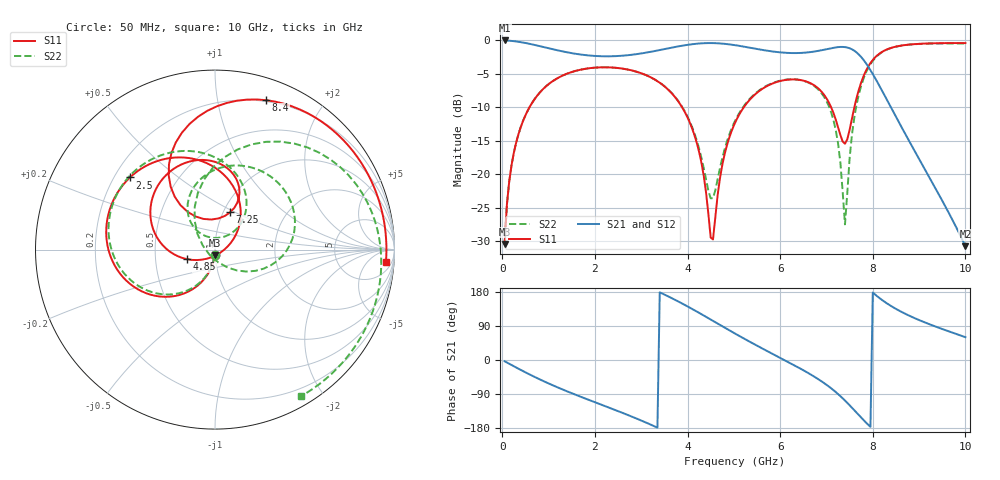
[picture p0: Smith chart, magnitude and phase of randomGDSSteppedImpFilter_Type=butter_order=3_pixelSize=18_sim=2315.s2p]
! freq	dB(S11)	phase(S11)	dB(S12)	phase(S12)
!  dB(S21)	phase(S21)	dB(S22)	phase(S22)
!S-par simulation data
#  GHz  S  DB  R 50
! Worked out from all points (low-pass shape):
!   200 points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, 50 MHz to 10 GHz, reference 50 ohm
!   highest |S21| = -0.01 dB at 50 MHz (marker M1); lowest = -30.8 dB at 10 GHz (marker M2)
!   |S21| within 3 dB of the highest: start of sweep to 7.81 GHz
!   lowest |S11| = -30.5 dB at 50 MHz (marker M3), VSWR 1.06, Z = 49.7 - j2.98 ohm
!   |S11| at or under -10 dB: start of sweep to 588 MHz; 3.882 GHz to 5.216 GHz (1.334 GHz wide, 29.3 % of centre); 7.101 GHz to 7.603 GHz (501.8 MHz wide, 6.83 % of centre)
!   |S22| runs from -30.5 to -0.5 dB; largest |S21 - S12| = 0
!   S11 on the Smith chart (normalised r, x): 50 MHz: 0.99, -0.06; 2.5 GHz: 0.26, +0.34; 4.85 GHz: 0.73, -0.08; 7.25 GHz: 1.08, +0.47; 8.4 GHz: 0.19, +1.38; 10 GHz: 13, -20
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0.05  -30.46 -93.7  -0.01 -3.4  -0.01 -3.4  -30.47 -93.9
0.2  -18.65 -103.5  -0.08 -13.3  -0.08 -13.3  -18.65 -104.2
0.5  -11.20 -122.2  -0.39 -32.6  -0.39 -32.6  -11.21 -124.1
1.05  -6.28 -153.1  -1.26 -64.6  -1.26 -64.6  -6.28 -157.1
1.75  -4.30 173.2  -2.17 -99.7  -2.17 -99.7  -4.30 166.4
2.5  -4.13 139.7  -2.33 -134.9  -2.33 -134.9  -4.14 130.0
3.4  -6.33 95.2  -1.45 178.6  -1.45 178.6  -6.32 83.2
4.15  -14.19 45.6  -0.53 131.3  -0.53 131.3  -13.93 45.0
4.5  -29.50 -33.1  -0.40 106.8  -0.40 106.8  -23.62 79.9
4.85  -15.71 -160.9  -0.55 82.0  -0.55 82.0  -15.13 133.2
5.05  -11.97 -177.5  -0.74 68.1  -0.74 68.1  -11.71 125.8
5.85  -6.41 131.6  -1.67 15.3  -1.67 15.3  -6.34 76.6
6.7  -6.57 84.0  -1.71 -41.2  -1.71 -41.2  -6.66 16.6
7.25  -12.96 67.8  -1.00 -89.8  -1.00 -89.8  -15.39 -43.3
7.4  -15.45 96.7  -1.00 -107.0  -1.00 -107.0  -27.52 -133.5
7.55  -11.70 126.0  -1.33 -126.0  -1.33 -126.0  -14.14 125.3
7.7  -7.36 125.2  -2.12 -145.7  -2.12 -145.7  -8.05 98.8
8  -2.93 101.5  -5.03 178.0  -5.03 178.0  -3.05 58.7
8.35  -1.23 74.5  -9.47 145.9  -9.47 145.9  -1.25 25.0
8.4  -1.11 71.1  -10.12 142.1  -10.12 142.1  -1.13 21.0
9.15  -0.47 30.7  -19.59 97.9  -19.59 97.9  -0.49 -23.9
10  -0.40 -4.1  -30.78 60.2  -30.78 60.2  -0.47 -59.5
